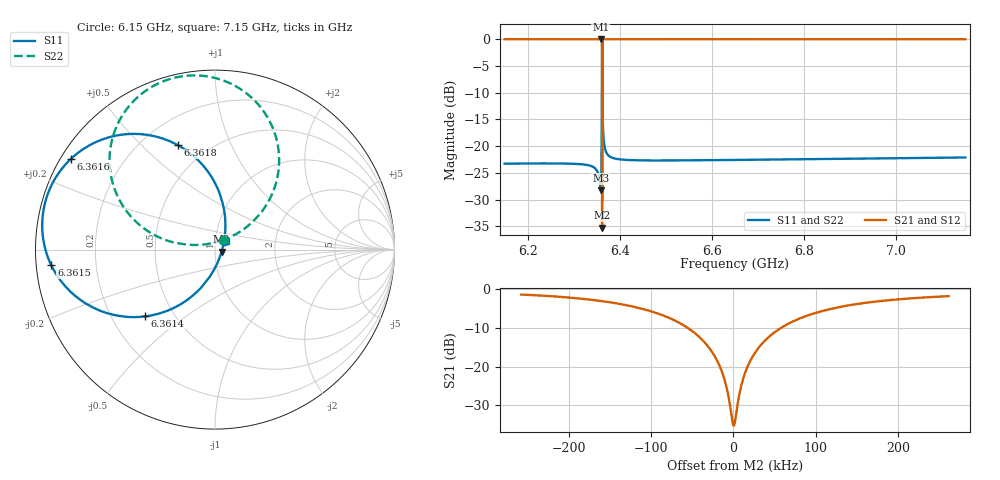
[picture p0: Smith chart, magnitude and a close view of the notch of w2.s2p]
! Sonnet Data File
! From: em Version : 14.52
! From Project: w2
! Data is De-embedded
! Data File Written: 07/15/2018 06:38:27
!< HDATE 07/13/2018 23:50:20
!< MDATE 07/15/2018 00:06:15
# GHZ S MA R 50.00000
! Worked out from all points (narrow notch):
!   815 points, 6.15 GHz to 7.15 GHz, reference 50 ohm
!   highest |S21| = -0.01 dB at 6.3586 GHz (marker M1); lowest = -35.3 dB at 6.3616 GHz (marker M2)
!   notch at M2: 34.9 dB deep, 43.8 kHz wide at half that depth
!   lowest |S11| = -28.3 dB at 6.3588 GHz (marker M3), VSWR 1.08, Z = 53.8 - j1.17 ohm
!   |S11| at or under -10 dB: start of sweep to 6.3612 GHz; 6.3622 GHz to end of sweep
!   |S22| runs from -28.3 to -0.1 dB; largest |S21 - S12| = 0
!   S11 on the Smith chart (normalised r, x): 6.15 GHz: 1.10, +0.11; 6.3614 GHz: 0.34, -0.36; 6.3615 GHz: 0.04, -0.05; 6.3616 GHz: 0.03, +0.29; 6.3618 GHz: 0.34, +0.65; 7.15 GHz: 1.12, +0.11
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6.15  0.06842 45.3  0.9977 -41.8  0.9977 -41.8  0.06842 51.1
!< P1 F=6.15 Eeff=(5.67116008 -5.1686e-6) Z0=(57.2989942 2.61131e-5) R=0.00789283 C=0.0030054
!< P2 F=6.15 Eeff=(5.67110246 -5.1686e-6) Z0=(56.0082311 2.55275e-5) R=0.00797455 C=0.00297405
6.32  0.06734 42.4  0.9977 -43.2  0.9977 -43.2  0.06734 51.3
6.35  0.05941 35.9  0.9982 -44.0  0.9982 -44.0  0.05942 56.2
6.3586  0.03874 -10.2  0.9992 -46.4  0.9992 -46.4  0.03885 97.4
6.3588  0.03853 -16.3  0.9992 -46.6  0.9992 -46.6  0.03865 103.1
6.361  0.2173 -109.2  0.9747 -59.0  0.9747 -59.0  0.2178 170.4
6.36136  0.5385 -136.3  0.8352 -79.2  0.8352 -79.2  0.5394 156.4
6.361534  0.916 -174.5  0.3596 -112.9  0.3596 -112.9  0.9173 123.3
6.361576  0.9735 171.4  0.1322 -121.7  0.1322 -121.7  0.9749 110.4
6.361598  0.9823 163.7  0.01726 -55.5  0.01726 -55.5  0.9836 103.3
6.361617  0.9767 157.1  0.1095 28.4  0.1095 28.4  0.978 97.1
6.361645  0.9487 147.8  0.2618 24.7  0.2618 24.7  0.9499 88.6
6.36173  0.7897 125.3  0.5966 5.5  0.5966 5.5  0.7906 68.1
6.361825  0.618 109.6  0.7786 -8.5  0.7786 -8.5  0.6188 54.7
6.3622  0.3207 85.8  0.9459 -28.1  0.9459 -28.1  0.321 38.5
6.3642  0.1288 63.4  0.9916 -39.6  0.9916 -39.6  0.1289 37.5
6.3716  0.08551 51.1  0.9963 -42.3  0.9963 -42.3  0.08552 44.2
6.485  0.0733 43.9  0.9973 -44.0  0.9973 -44.0  0.0733 48.1
6.65  0.07413 42.4  0.9972 -45.1  0.9972 -45.1  0.07413 47.3
6.82  0.07545 41.0  0.9971 -46.3  0.9971 -46.3  0.07545 46.3
6.985  0.0768 39.8  0.997 -47.4  0.997 -47.4  0.0768 45.3
7.15  0.07817 38.6  0.9969 -48.6  0.9969 -48.6  0.07817 44.3
